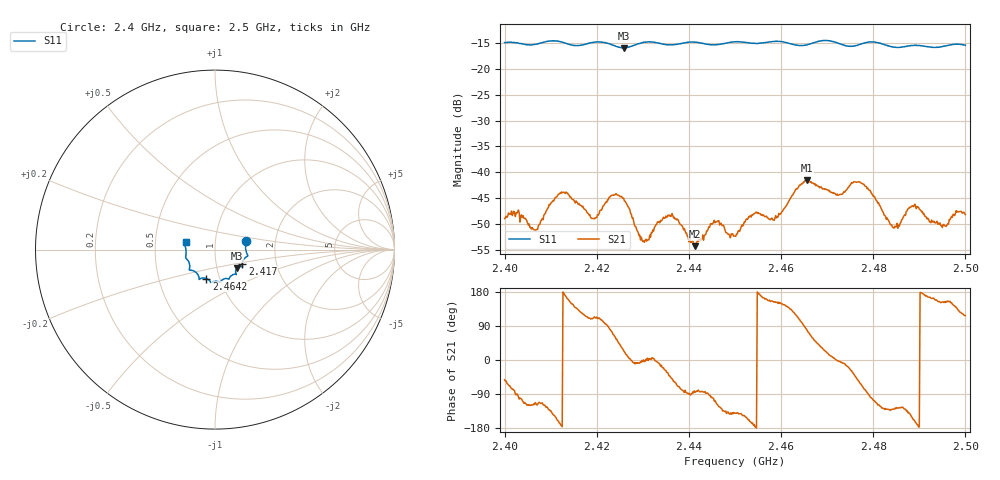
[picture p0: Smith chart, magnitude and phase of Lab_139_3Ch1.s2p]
# Hz S RI R 50
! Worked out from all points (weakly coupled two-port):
!   601 points, 2.4 GHz to 2.5 GHz, reference 50 ohm
!   highest |S21| = -41.60 dB at 2.4657 GHz (marker M1); lowest = -54.3 dB at 2.4413 GHz (marker M2)
!   lowest |S11| = -15.9 dB at 2.4258 GHz (marker M3), VSWR 1.38, Z = 62.3 - j13.3 ohm
!   |S11| at or under -10 dB: start of sweep to end of sweep
!   S12 and S22 are empty: the file has one direction only
!   S11 on the Smith chart (normalised r, x): 2.4 GHz: 1.41, +0.14; 2.417 GHz: 1.34, -0.22; 2.4642 GHz: 0.86, -0.29; 2.5 GHz: 0.72, +0.06
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2.4e9  0.1729 0.0485  0.00218 -0.0028  0 0  0 0
2.406667e9  0.1723 -0.00619  -0.00104 -0.00254  0 0  0 0
2.412167e9  0.1792 -0.0381  -0.00614 -0.000957  0 0  0 0
2.416667e9  0.1526 -0.0743  -0.00267 0.00391  0 0  0 0
2.417e9  0.152 -0.0781  -0.00243 0.00399  0 0  0 0
2.4195e9  0.1535 -0.0969  -0.00143 0.00323  0 0  0 0
2.425833e9  0.1217 -0.1037  0.00508 0.00232  0 0  0 0
2.43e9  0.1173 -0.1366  0.00212 -0.00017  0 0  0 0
2.433333e9  0.1127 -0.1372  0.00326 -0.000411  0 0  0 0
2.436333e9  0.0916 -0.1444  0.00258 -0.00301  0 0  0 0
2.441333e9  0.0767 -0.1648  0.000161 -0.00191  0 0  0 0
2.446e9  0.0477 -0.1647  -0.00143 -0.00297  0 0  0 0
2.45e9  0.0287 -0.1808  -0.00183 -0.00155  0 0  0 0
2.454167e9  0.00886 -0.1764  -0.00389 -0.000663  0 0  0 0
2.458833e9  -0.022 -0.1836  -0.00335 0.00177  0 0  0 0
2.464167e9  -0.0479 -0.1613  -0.00175 0.00727  0 0  0 0
2.465667e9  -0.0657 -0.1581  0.00169 0.00815  0 0  0 0
2.466667e9  -0.0758 -0.1594  0.00387 0.00681  0 0  0 0
2.4775e9  -0.1313 -0.1153  0.00304 -0.00718  0 0  0 0
2.483333e9  -0.1405 -0.0899  -0.00221 -0.00259  0 0  0 0
2.488667e9  -0.162 -0.0471  -0.00428 -0.0018  0 0  0 0
2.5e9  -0.164 0.043  -0.00178 0.00345  0 0  0 0
